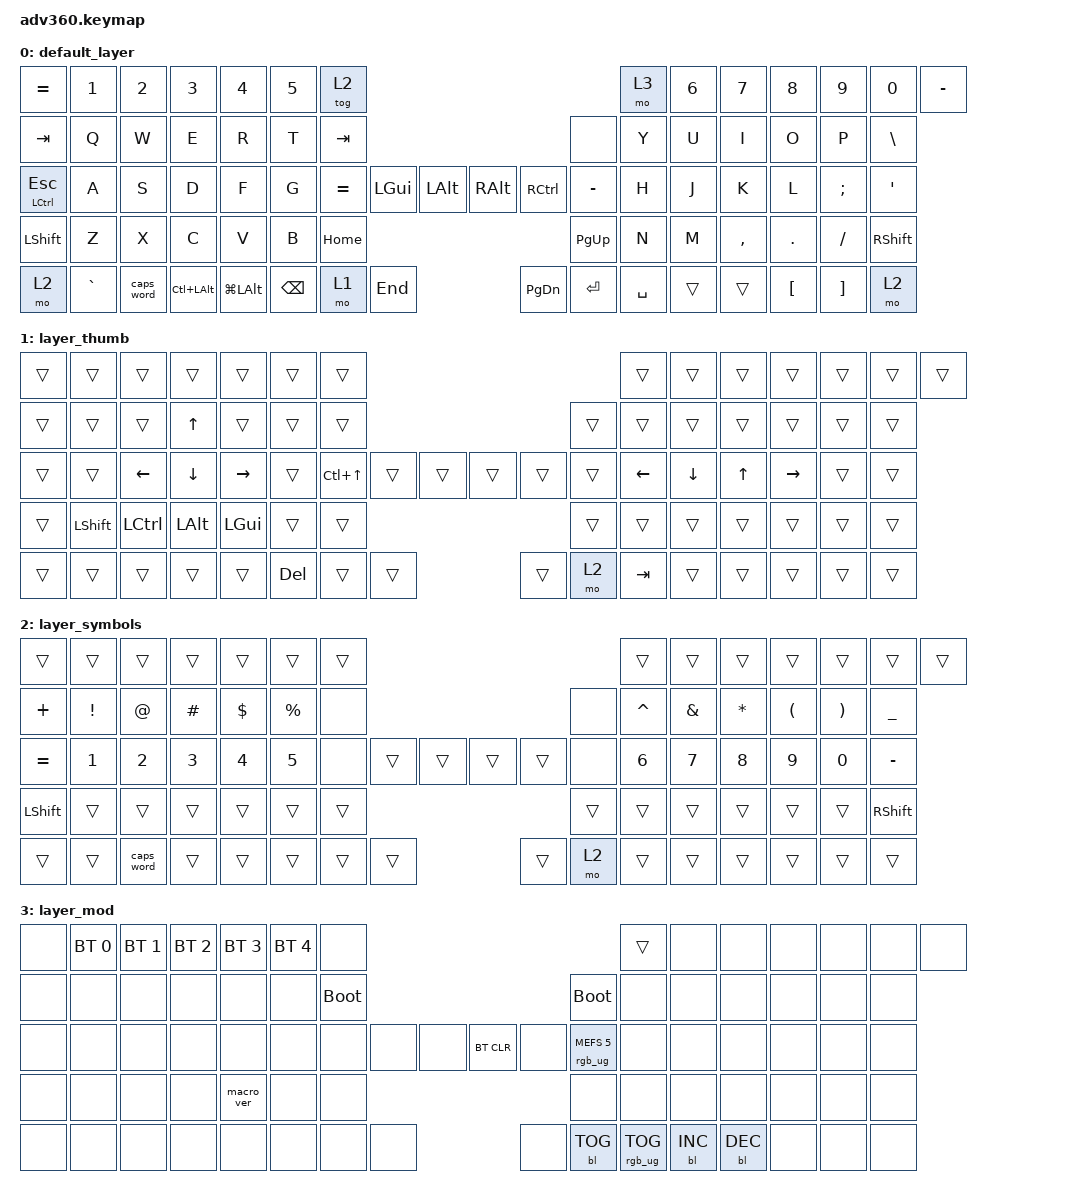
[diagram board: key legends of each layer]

/*
 * Copyright (c) 2020 The ZMK Contributors
 *
 * SPDX-License-Identifier: MIT
 */


/* THIS FILE WAS GENERATED!
 *
 * This file was generated automatically. You may or may not want to
 * edit it directly.
 */

#include <behaviors.dtsi>
#include <dt-bindings/zmk/keys.h>
#include <dt-bindings/zmk/bt.h>
#include <dt-bindings/zmk/rgb.h>
#include <dt-bindings/zmk/backlight.h>

/ {
  behaviors {
    #include "macros.dtsi"
    #include "version.dtsi"

    hm: homerow_mods {
        compatible = "zmk,behavior-hold-tap";
        label = "HOMEROW_MODS";
        #binding-cells = <2>;
        tapping-term-ms = <200>;
        quick_tap_ms = <175>;
        flavor = "tap-preferred";
        bindings = <&kp>, <&kp>;
    };
  };

    keymap {
        compatible = "zmk,keymap";


        default_layer {
            bindings = <
     &kp EQUAL     &kp N1      &kp N2        &kp N3        &kp N4  &kp N5               &tog 2                                                                &mo 3  &kp N6  &kp N7     &kp N8    &kp N9    &kp N0  &kp MINUS
       &kp TAB      &kp Q       &kp W         &kp E         &kp R   &kp T              &kp TAB                                                                &none   &kp Y   &kp U      &kp I     &kp O     &kp P   &kp BSLH
 &mt LCTRL ESC      &kp A       &kp S         &kp D         &kp F   &kp G            &kp EQUAL  &kp LGUI  &kp LALT                   &kp RALT  &kp RCTRL  &kp MINUS   &kp H   &kp J      &kp K     &kp L  &kp SEMI    &kp SQT
     &kp LSHFT      &kp Z       &kp X         &kp C         &kp V   &kp B                                 &kp HOME                  &kp PG_UP                         &kp N   &kp M  &kp COMMA   &kp DOT  &kp FSLH  &kp RSHFT
         &mo 2  &kp GRAVE  &caps_word  &kp LC(LALT)  &kp LG(LALT)                     &kp BSPC     &mo 1   &kp END                  &kp PG_DN  &kp ENTER  &kp SPACE          &trans     &trans  &kp LBKT  &kp RBKT      &mo 2
            >;
        };

        layer_thumb {
            bindings = <
 &trans          &trans            &trans          &trans           &trans  &trans                      &trans                                                   &trans          &trans          &trans        &trans           &trans  &trans  &trans
 &trans          &trans            &trans    &kp UP_ARROW           &trans  &trans                      &trans                                                   &trans          &trans          &trans        &trans           &trans  &trans  &trans
 &trans          &trans    &kp LEFT_ARROW  &kp DOWN_ARROW  &kp RIGHT_ARROW  &trans            &kp LC(UP_ARROW)  &trans  &trans                  &trans  &trans   &trans  &kp LEFT_ARROW  &kp DOWN_ARROW  &kp UP_ARROW  &kp RIGHT_ARROW  &trans  &trans
 &trans  &kp LEFT_SHIFT  &kp LEFT_CONTROL        &kp LALT     &kp LEFT_GUI  &trans                                      &trans                  &trans                           &trans          &trans        &trans           &trans  &trans  &trans
 &trans          &trans            &trans          &trans           &trans                             &kp DEL  &trans  &trans                  &trans   &mo 2  &kp TAB                          &trans        &trans           &trans  &trans  &trans
            >;
        };

        layer_symbols {
            bindings = <
         &trans           &trans        &trans        &trans        &trans        &trans            &trans                                                  &trans        &trans         &trans        &trans                &trans                 &trans          &trans
       &kp PLUS  &kp EXCLAMATION   &kp AT_SIGN     &kp POUND    &kp DOLLAR   &kp PERCENT             &none                                                   &none     &kp CARET  &kp AMPERSAND  &kp ASTERISK  &kp LEFT_PARENTHESIS  &kp RIGHT_PARENTHESIS  &kp UNDERSCORE
      &kp EQUAL     &kp NUMBER_1  &kp NUMBER_2  &kp NUMBER_3  &kp NUMBER_4  &kp NUMBER_5             &none  &trans  &trans                  &trans  &trans   &none  &kp NUMBER_6   &kp NUMBER_7  &kp NUMBER_8          &kp NUMBER_9           &kp NUMBER_0       &kp MINUS
 &kp LEFT_SHIFT           &trans        &trans        &trans        &trans        &trans                            &trans                  &trans                        &trans         &trans        &trans                &trans                 &trans       &kp RSHFT
         &trans           &trans    &caps_word        &trans        &trans                          &trans  &trans  &trans                  &trans   &mo 2  &trans                       &trans        &trans                &trans                 &trans          &trans
            >;
        };

        layer_mod {
            bindings = <
  &none  &bt BT_SEL 0  &bt BT_SEL 1  &bt BT_SEL 2  &bt BT_SEL 3  &bt BT_SEL 4                  &none                                                                          &trans   &none       &none       &none   &none   &none   &none
  &none         &none         &none         &none         &none         &none            &bootloader                                                                     &bootloader   &none       &none       &none   &none   &none   &none
  &none         &none         &none         &none         &none         &none                  &none   &none   &none                  &bt BT_CLR       &none  &rgb_ug RGB_MEFS_CMD 5   &none       &none       &none   &none   &none   &none
  &none         &none         &none         &none    &macro_ver         &none                                  &none                       &none                                       &none       &none       &none   &none   &none   &none
  &none         &none         &none         &none         &none                                &none   &none   &none                       &none  &bl BL_TOG         &rgb_ug RGB_TOG          &bl BL_INC  &bl BL_DEC   &none   &none   &none
            >;
        };

    };
};
